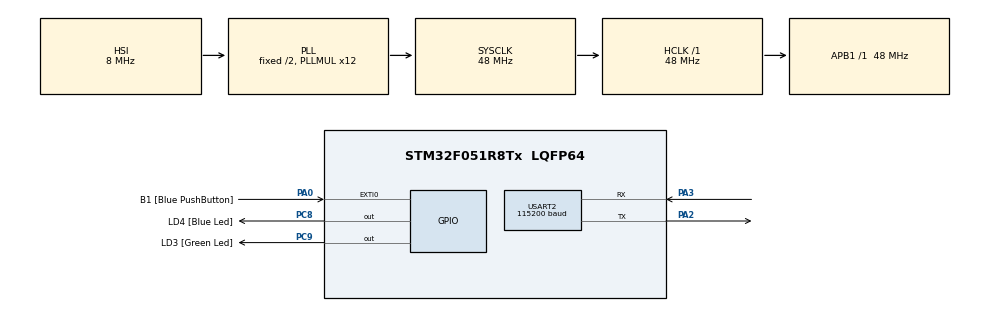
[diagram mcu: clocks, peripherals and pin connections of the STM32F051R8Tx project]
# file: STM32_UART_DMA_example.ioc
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Dma.Request0=USART2_RX
Dma.Request1=USART2_TX
Dma.USART2_RX.0.Direction=DMA_PERIPH_TO_MEMORY
Dma.USART2_RX.0.Instance=DMA1_Channel5
Dma.USART2_RX.0.MemDataAlignment=DMA_MDATAALIGN_BYTE
Dma.USART2_RX.0.MemInc=DMA_MINC_ENABLE
Dma.USART2_RX.0.Mode=DMA_NORMAL
Dma.USART2_RX.0.PeriphDataAlignment=DMA_PDATAALIGN_BYTE
Dma.USART2_RX.0.PeriphInc=DMA_PINC_DISABLE
Dma.USART2_RX.0.Priority=DMA_PRIORITY_LOW
Dma.USART2_TX.1.Direction=DMA_MEMORY_TO_PERIPH
Dma.USART2_TX.1.Instance=DMA1_Channel4
Dma.USART2_TX.1.MemDataAlignment=DMA_MDATAALIGN_BYTE
Dma.USART2_TX.1.MemInc=DMA_MINC_ENABLE
Dma.USART2_TX.1.Mode=DMA_NORMAL
Dma.USART2_TX.1.PeriphDataAlignment=DMA_PDATAALIGN_BYTE
Dma.USART2_TX.1.PeriphInc=DMA_PINC_DISABLE
Dma.USART2_TX.1.Priority=DMA_PRIORITY_LOW
Mcu.Family=STM32F0
Mcu.Name=STM32F051R8Tx
Mcu.Package=LQFP64
NVIC.DMA1_Channel4_5_IRQn=true\:0\:0\:false\:false\:true\:false\:true\:true
NVIC.RCC_IRQn=true\:0\:0\:false\:false\:true\:true\:false\:true
NVIC.USART2_IRQn=true\:0\:0\:false\:false\:true\:true\:true\:true
PA0.GPIO_Label=B1 [Blue PushButton]
PA0.GPIO_ModeDefaultEXTI=GPIO_MODE_EVT_RISING
PA0.Signal=GPXTI0
PA13.GPIO_Label=SWDIO
PA13.Mode=Serial_Wire
PA13.Signal=SYS_SWDIO
PA14.GPIO_Label=SWCLK
PA14.Mode=Serial_Wire
PA14.Signal=SYS_SWCLK
PA2.Mode=Asynchronous
PA2.Signal=USART2_TX
PA3.Mode=Asynchronous
PA3.Signal=USART2_RX
PC8.GPIO_Label=LD4 [Blue Led]
PC8.Signal=GPIO_Output
PC9.GPIO_Label=LD3 [Green Led]
PC9.Signal=GPIO_Output
ProjectManager.HeapSize=0x200
ProjectManager.StackSize=0x400
ProjectManager.TargetToolchain=STM32CubeIDE
RCC.AHBFreq_Value=48000000
RCC.APB1Freq_Value=48000000
RCC.APB1TimFreq_Value=48000000
RCC.HCLKFreq_Value=48000000
RCC.PLLMUL=RCC_PLL_MUL12
RCC.SYSCLKFreq_VALUE=48000000
RCC.SYSCLKSource=RCC_SYSCLKSOURCE_PLLCLK
USART2.BaudRate=115200
USART2.VirtualMode-Asynchronous=VM_ASYNC
board=STM32F0DISCOVERY

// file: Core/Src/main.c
/* USER CODE BEGIN Header */
/**
 ******************************************************************************
 * @file           : main.c
 * @brief          : Main program body
 ******************************************************************************
 * @attention
 *
 * <h2><center>&copy; Copyright (c) 2022 STMicroelectronics.
 * All rights reserved.</center></h2>
 *
 * This software component is licensed by ST under BSD 3-Clause license,
 * the "License"; You may not use this file except in compliance with the
 * License. You may obtain a copy of the License at:
 *                        opensource.org/licenses/BSD-3-Clause
 *
 ******************************************************************************
 */
/* USER CODE END Header */
#include "main.h"

UART_HandleTypeDef huart2;
DMA_HandleTypeDef hdma_usart2_rx;
DMA_HandleTypeDef hdma_usart2_tx;

void SystemClock_Config(void);
static void MX_GPIO_Init(void);
static void MX_DMA_Init(void);
static void MX_USART2_UART_Init(void);

/* USER CODE BEGIN 0 */
#include "string.h"
#include <stdbool.h> // for activate bool type
#include <stdio.h>

#define rxbuff_size 10 // 10 bytes
#define mainbuff_size 20
char txbuffer[50] = { 0 };
uint8_t rxdatasize;

uint8_t rxbuff[rxbuff_size]; // where DMA is going to copy data
uint8_t blankdata[mainbuff_size]; // where DMA is going to copy data
uint8_t mainbuff[mainbuff_size]; // Data will be finally store here
_Bool uart_rx_int = 0;
uint32_t counter = 0;

int direction_mode = 1; //control counter direction
_Bool pause = 0;
bool gled_state = 1; // g led state
bool bled_state = 0; // b led state

// Code for DMA data Rx and Tx

void HAL_UARTEx_RxEventCallback(UART_HandleTypeDef *huart, uint16_t Size) {
	if (huart->Instance == USART2) {
		memcpy(mainbuff, blankdata, mainbuff_size);
		//remove the enter digit from Arduino serial monitor
		if (rxbuff[Size-1] == 10){
			Size = Size -1;
		}
		memcpy(mainbuff, rxbuff, Size); // store value fm Uart2, need #include "string.h" //Size - 1
		HAL_UARTEx_ReceiveToIdle_DMA(&huart2, rxbuff, rxbuff_size); // rx stop after receive, restart it again
		__HAL_DMA_DISABLE_IT(&hdma_usart2_rx, DMA_IT_HT);
		rxdatasize = Size;
		uart_rx_int = 1;
	}
}

// Create counter msg
void printpolestep( txbuffer, counter) {
	sprintf(txbuffer, "counter = %03d\n\r", counter);
	tx_msg((char*) txbuffer);
}

// Tx msg from Uart 2
void tx_msg( txbuffer) {
	HAL_UART_Transmit_DMA(&huart2, (uint8_t*) txbuffer, strlen(txbuffer));
	HAL_Delay(100);
}

/* USER CODE END 0 */

int main(void) {

	/* MCU Configuration--------------------------------------------------------*/

	/* Reset of all peripherals, Initializes the Flash interface and the Systick. */
	HAL_Init();

	/* Configure the system clock */
	SystemClock_Config();

	/* Initialize all configured peripherals */
	MX_GPIO_Init();
	MX_DMA_Init();
	MX_USART2_UART_Init();
	/* USER CODE BEGIN 2 */
	// for hal dma feature
	HAL_UARTEx_ReceiveToIdle_DMA(&huart2, rxbuff, rxbuff_size); // call uart rx function, data store in rxbuff
	__HAL_DMA_DISABLE_IT(&hdma_usart2_rx, DMA_IT_HT); // hal dma it start by default, disable half tx IT, this IT trigger when half data has been transfer
	/* USER CODE END 2 */

	/* Infinite loop */
	while (1) {

		/* USER CODE BEGIN 3 */
		if (uart_rx_int == 1) {
			uart_rx_int = 0;
			if (strncmp((char*) mainbuff, "resume", rxdatasize - 1) == 0 && strlen(mainbuff) == 6) {
				pause = 0;

				sprintf(txbuffer, " '%s' has been recieved \n", mainbuff);
				tx_msg((char*) txbuffer);

				sprintf(txbuffer, "program resume \n\r");
				tx_msg((char*) txbuffer);

			} else if (strncmp((char*) mainbuff, "stop", rxdatasize - 1) == 0 && strlen(mainbuff) == 4) {
				pause = 1;

				sprintf(txbuffer, " '%s' has been recieved \n", mainbuff);
				tx_msg((char*) txbuffer);

				sprintf(txbuffer, "program stop \n\r");
				tx_msg((char*) txbuffer);

			} else if (strncmp((char*) mainbuff, "forward", rxdatasize - 1)
					== 0  && strlen(mainbuff) == 7) {

				sprintf(txbuffer, " '%s' has been recieved \n", mainbuff);
				tx_msg((char*) txbuffer);
				direction_mode = 1;

			} else if (strncmp((char*) mainbuff, "backward", rxdatasize - 1)
					== 0 && strlen(mainbuff) == 8) {

				sprintf(txbuffer, " '%s' has been recieved \n", mainbuff);
				tx_msg((char*) txbuffer);
				direction_mode = 0;
			}

			else {
				sprintf(txbuffer, " '%s' has been recieved \n", mainbuff);
				tx_msg((char*) txbuffer);
				sprintf(txbuffer, "===invalid input=== \n\r");
				tx_msg((char*) txbuffer);
			}
			//memcpy(mainbuff, blankdata, rxbuff_size);
		}

		if (pause == 0) {
			HAL_GPIO_WritePin(GPIOC, LD3_Pin, bled_state);
			HAL_GPIO_WritePin(GPIOC, LD4_Pin, gled_state);
			gled_state = !gled_state;
			bled_state = !bled_state;
			if (direction_mode == 1)
				counter++;
			else
				counter--;
			printpolestep((char*) txbuffer, counter);
			HAL_Delay(100);
		}
	}
	/* USER CODE END 3 */
}

void SystemClock_Config(void) {
	RCC_OscInitTypeDef RCC_OscInitStruct = { 0 };
	RCC_ClkInitTypeDef RCC_ClkInitStruct = { 0 };

	/** Initializes the RCC Oscillators according to the specified parameters
	 * in the RCC_OscInitTypeDef structure.
	 */
	RCC_OscInitStruct.OscillatorType = RCC_OSCILLATORTYPE_HSI;
	RCC_OscInitStruct.HSIState = RCC_HSI_ON;
	RCC_OscInitStruct.HSICalibrationValue = RCC_HSICALIBRATION_DEFAULT;
	RCC_OscInitStruct.PLL.PLLState = RCC_PLL_ON;
	RCC_OscInitStruct.PLL.PLLSource = RCC_PLLSOURCE_HSI;
	RCC_OscInitStruct.PLL.PLLMUL = RCC_PLL_MUL12;
	RCC_OscInitStruct.PLL.PREDIV = RCC_PREDIV_DIV1;
	if (HAL_RCC_OscConfig(&RCC_OscInitStruct) != HAL_OK) {
		Error_Handler();
	}
	/** Initializes the CPU, AHB and APB buses clocks
	 */
	RCC_ClkInitStruct.ClockType = RCC_CLOCKTYPE_HCLK | RCC_CLOCKTYPE_SYSCLK
			| RCC_CLOCKTYPE_PCLK1;
	RCC_ClkInitStruct.SYSCLKSource = RCC_SYSCLKSOURCE_PLLCLK;
	RCC_ClkInitStruct.AHBCLKDivider = RCC_SYSCLK_DIV1;
	RCC_ClkInitStruct.APB1CLKDivider = RCC_HCLK_DIV1;

	if (HAL_RCC_ClockConfig(&RCC_ClkInitStruct, FLASH_LATENCY_1) != HAL_OK) {
		Error_Handler();
	}
}

static void MX_USART2_UART_Init(void) {

	huart2.Instance = USART2;
	huart2.Init.BaudRate = 115200;
	huart2.Init.WordLength = UART_WORDLENGTH_8B;
	huart2.Init.StopBits = UART_STOPBITS_1;
	huart2.Init.Parity = UART_PARITY_NONE;
	huart2.Init.Mode = UART_MODE_TX_RX;
	huart2.Init.HwFlowCtl = UART_HWCONTROL_NONE;
	huart2.Init.OverSampling = UART_OVERSAMPLING_16;
	huart2.Init.OneBitSampling = UART_ONE_BIT_SAMPLE_DISABLE;
	huart2.AdvancedInit.AdvFeatureInit = UART_ADVFEATURE_NO_INIT;
	if (HAL_UART_Init(&huart2) != HAL_OK) {
		Error_Handler();
	}

}

static void MX_DMA_Init(void) {

	/* DMA controller clock enable */
	__HAL_RCC_DMA1_CLK_ENABLE();

	/* DMA interrupt init */
	/* DMA1_Channel4_5_IRQn interrupt configuration */
	HAL_NVIC_SetPriority(DMA1_Channel4_5_IRQn, 0, 0);
	HAL_NVIC_EnableIRQ(DMA1_Channel4_5_IRQn);

}

static void MX_GPIO_Init(void) {
	GPIO_InitTypeDef GPIO_InitStruct = { 0 };

	/* GPIO Ports Clock Enable */
	__HAL_RCC_GPIOA_CLK_ENABLE();
	__HAL_RCC_GPIOC_CLK_ENABLE();

	/*Configure GPIO pin Output Level */
	HAL_GPIO_WritePin(GPIOC, LD4_Pin | LD3_Pin, GPIO_PIN_RESET);

	/*Configure GPIO pin : B1_Pin */
	GPIO_InitStruct.Pin = B1_Pin;
	GPIO_InitStruct.Mode = GPIO_MODE_EVT_RISING;
	GPIO_InitStruct.Pull = GPIO_NOPULL;
	HAL_GPIO_Init(B1_GPIO_Port, &GPIO_InitStruct);

	/*Configure GPIO pins : LD4_Pin LD3_Pin */
	GPIO_InitStruct.Pin = LD4_Pin | LD3_Pin;
	GPIO_InitStruct.Mode = GPIO_MODE_OUTPUT_PP;
	GPIO_InitStruct.Pull = GPIO_NOPULL;
	GPIO_InitStruct.Speed = GPIO_SPEED_FREQ_LOW;
	HAL_GPIO_Init(GPIOC, &GPIO_InitStruct);

}

void Error_Handler(void) {
	__disable_irq();
	while (1) {
	}
}

/************************ (C) COPYRIGHT STMicroelectronics *****END OF FILE****/
